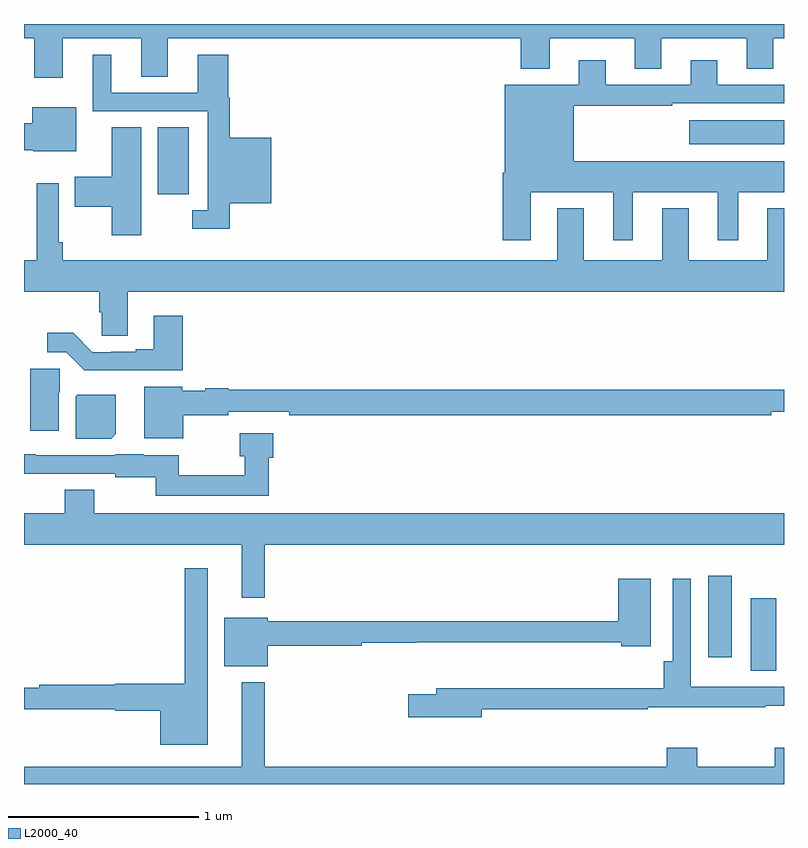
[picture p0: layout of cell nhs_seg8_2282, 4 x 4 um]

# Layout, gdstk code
import gdstk
lib = gdstk.Library(unit=1e-6, precision=1e-09)
def R(c, l, rs):  # rectangles x0, y0, x1, y1
    for r in rs: c.add(gdstk.rectangle(r[:2], r[2:], *l))
def P(c, l, *ps):  # polygons
    for p in ps: c.add(gdstk.Polygon(p, *l))
L2000_40 = (2000, 40)

nhs_seg8_2282 = lib.new_cell('nhs_seg8_2282')
R(nhs_seg8_2282, L2000_40, [(258.824,1122.496,258.958,1122.877), (258.602,1122.567,258.724,1122.997), (255.704,1125.003,255.868,1125.356), (258.501,1125.266,259,1125.394)])
P(nhs_seg8_2282, L2000_40, [(255.205,1125.824),(255.617,1125.824),(255.617,1125.622),(255.757,1125.622),(255.757,1125.824),(257.615,1125.824),(257.615,1125.665),(257.767,1125.665),(257.767,1125.824),(258.215,1125.824),(258.215,1125.664),(258.355,1125.664),(258.355,1125.824),(258.803,1125.824),(258.803,1125.664),(258.943,1125.664),(258.943,1125.824),(259,1125.824),(259,1125.9),(255,1125.9),(255,1125.824),(255.053,1125.824),(255.053,1125.618),(255.205,1125.618)],
  [(256.082,1124.957),(256.3,1124.957),(256.3,1125.301),(256.082,1125.301),(256.082,1125.512),(256.076,1125.512),(256.076,1125.739),(255.914,1125.739),(255.914,1125.537),(255.46,1125.537),(255.46,1125.739),(255.362,1125.739),(255.362,1125.441),(255.966,1125.441),(255.966,1124.919),(255.885,1124.919),(255.885,1124.822),(256.082,1124.822)],
  [(257.668,1125.014),(258.101,1125.014),(258.101,1124.763),(258.205,1124.763),(258.205,1125.014),(258.65,1125.014),(258.65,1124.763),(258.76,1124.763),(258.76,1125.014),(259,1125.014),(259,1125.178),(257.893,1125.178),(257.893,1125.471),(258.413,1125.471),(258.413,1125.483),(259,1125.483),(259,1125.579),(258.649,1125.579),(258.649,1125.709),(258.509,1125.709),(258.509,1125.579),(258.061,1125.579),(258.061,1125.709),(257.921,1125.709),(257.921,1125.58),(257.531,1125.58),(257.531,1125.118),(257.519,1125.118),(257.519,1124.763),(257.668,1124.763)],
  [(255.274,1125.463),(255.044,1125.463),(255.044,1125.378),(255,1125.378),(255,1125.236),(255.048,1125.236),(255.048,1125.23),(255.274,1125.23)],
  [(255.616,1125.356),(255.461,1125.356),(255.461,1125.097),(255.268,1125.097),(255.268,1124.939),(255.461,1124.939),(255.461,1124.787),(255.616,1124.787)],
  [(255.547,1124.492),(259,1124.492),(259,1124.929),(258.911,1124.929),(258.911,1124.656),(258.499,1124.656),(258.499,1124.929),(258.359,1124.929),(258.359,1124.656),(257.947,1124.656),(257.947,1124.929),(257.807,1124.929),(257.807,1124.656),(255.203,1124.656),(255.203,1124.752),(255.183,1124.752),(255.183,1125.061),(255.067,1125.061),(255.067,1124.656),(255,1124.656),(255,1124.492),(255.395,1124.492),(255.395,1124.382),(255.408,1124.382),(255.408,1124.26),(255.547,1124.26)],
  [(255.836,1124.365),(255.683,1124.365),(255.683,1124.188),(255.587,1124.188),(255.587,1124.175),(255.46,1124.175),(255.46,1124.172),(255.36,1124.172),(255.258,1124.275),(255.123,1124.275),(255.123,1124.172),(255.222,1124.172),(255.317,1124.078),(255.836,1124.078)],
  [(255.184,1123.962),(255.188,1123.962),(255.188,1124.085),(255.032,1124.085),(255.032,1123.758),(255.184,1123.758)],
  [(255.838,1123.84),(256.074,1123.84),(256.074,1123.86),(256.396,1123.86),(256.396,1123.84),(258.932,1123.84),(258.932,1123.86),(259,1123.86),(259,1123.976),(256.074,1123.976),(256.074,1123.984),(255.954,1123.984),(255.954,1123.969),(255.834,1123.969),(255.834,1123.99),(255.632,1123.99),(255.632,1123.721),(255.838,1123.721)],
  [(255.484,1123.744),(255.484,1123.948),(255.28,1123.948),(255.272,1123.94),(255.272,1123.718),(255.458,1123.718)],
  [(256.289,1123.618),(256.313,1123.618),(256.313,1123.747),(256.135,1123.747),(256.135,1123.625),(256.161,1123.625),(256.161,1123.525),(255.814,1123.525),(255.814,1123.63),(255.63,1123.63),(255.63,1123.636),(255.48,1123.636),(255.48,1123.629),(255.063,1123.629),(255.063,1123.636),(255,1123.636),(255,1123.532),(255.063,1123.532),(255.063,1123.533),(255.48,1123.533),(255.48,1123.514),(255.693,1123.514),(255.693,1123.416),(256.289,1123.416)],
  [(256.267,1123.16),(259,1123.16),(259,1123.324),(255.369,1123.324),(255.369,1123.448),(255.214,1123.448),(255.214,1123.324),(255,1123.324),(255,1123.16),(256.145,1123.16),(256.145,1122.879),(256.267,1122.879)],
  [(255.967,1123.036),(255.846,1123.036),(255.846,1122.428),(255.48,1122.428),(255.48,1122.422),(255.08,1122.422),(255.08,1122.407),(255,1122.407),(255,1122.294),(255.48,1122.294),(255.48,1122.286),(255.716,1122.286),(255.716,1122.107),(255.967,1122.107)],
  [(256.282,1122.628),(256.778,1122.628),(256.778,1122.643),(257.067,1122.643),(257.067,1122.646),(258.144,1122.646),(258.144,1122.626),(258.298,1122.626),(258.298,1122.979),(258.128,1122.979),(258.128,1122.757),(256.282,1122.757),(256.282,1122.775),(256.055,1122.775),(256.055,1122.521),(256.282,1122.521)],
  [(257.41,1122.294),(258.284,1122.294),(258.284,1122.305),(258.486,1122.305),(258.486,1122.303),(258.902,1122.303),(258.902,1122.313),(259,1122.313),(259,1122.411),(258.72,1122.411),(258.72,1122.412),(258.51,1122.412),(258.51,1122.979),(258.414,1122.979),(258.414,1122.547),(258.368,1122.547),(258.368,1122.405),(257.171,1122.405),(257.171,1122.373),(257.022,1122.373),(257.022,1122.251),(257.41,1122.251)],
  [(259,1122.091),(258.952,1122.091),(258.952,1121.992),(258.543,1121.992),(258.543,1122.091),(258.383,1122.091),(258.383,1121.992),(256.267,1121.992),(256.267,1122.436),(256.145,1122.436),(256.145,1121.992),(255,1121.992),(255,1121.9),(259,1121.9)])

lib.write_gds('nhs_seg8_2282.gds')
